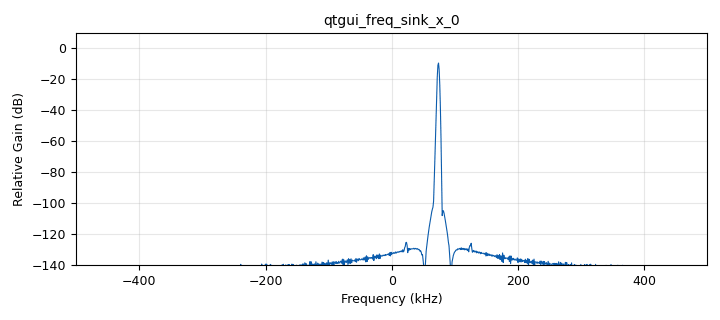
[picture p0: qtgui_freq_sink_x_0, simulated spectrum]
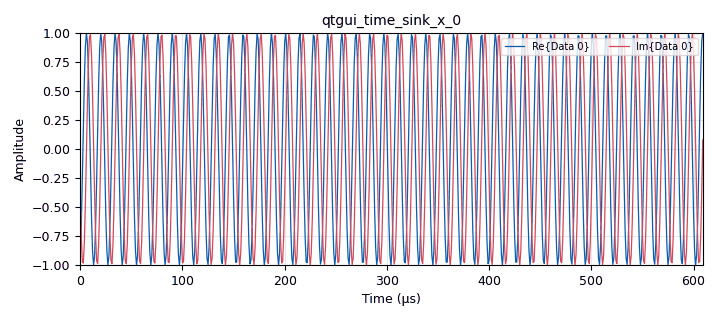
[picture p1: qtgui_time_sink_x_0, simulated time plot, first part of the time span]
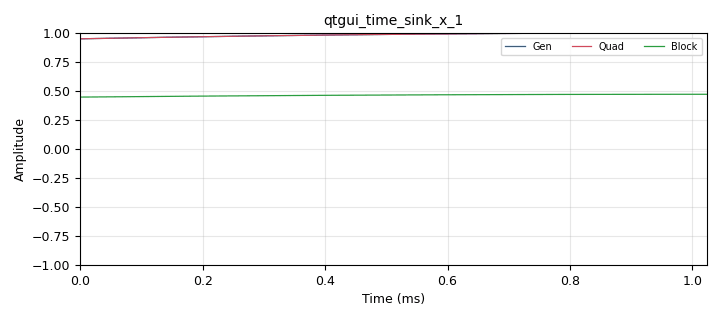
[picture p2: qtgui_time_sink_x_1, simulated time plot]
options:
  parameters:
    generate_options: qt_gui
    id: FM
    output_language: python
    title: Not titled yet
  states: {}

blocks:
- name: amp
  id: variable_qtgui_range
  parameters:
    label: Amp
    start: '0'
    step: '.1'
    stop: '1'
    value: '1'
  states: {}
- name: bw
  id: variable
  parameters:
    value: 2*(deltaF+15e3)
  states: {}
- name: deltaF
  id: variable
  parameters:
    value: 75e3
  states: {}
- name: frec
  id: variable_qtgui_range
  parameters:
    label: Frec
    start: '0'
    step: '100'
    stop: 15e3
    value: '50'
  states: {}
- name: samp_rate
  id: variable
  parameters:
    value: 1e6
  states: {}
- name: analog_frequency_modulator_fc_0
  id: analog_frequency_modulator_fc
  parameters:
    sensitivity: 2*np.pi*deltaF/samp_rate
  states: {}
- name: analog_quadrature_demod_cf_0
  id: analog_quadrature_demod_cf
  parameters:
    gain: samp_rate/(2*np.pi*deltaF)
  states: {}
- name: analog_sig_source_x_0
  id: analog_sig_source_x
  parameters:
    amp: amp
    comment: Audio
    freq: frec
    offset: '0'
    phase: '0'
    samp_rate: samp_rate
    type: float
    waveform: analog.GR_COS_WAVE
  states: {}
- name: blocks_complex_to_arg_0
  id: blocks_complex_to_arg
  parameters: {}
  states: {}
- name: blocks_conjugate_cc_0
  id: blocks_conjugate_cc
  parameters: {}
  states: {}
- name: blocks_delay_0
  id: blocks_delay
  parameters:
    delay: '1'
    type: complex
  states: {}
- name: blocks_multiply_xx_0
  id: blocks_multiply_xx
  parameters:
    type: complex
  states: {}
- name: blocks_throttle2_0
  id: blocks_throttle2
  parameters:
    samples_per_second: samp_rate
    type: float
  states: {}
- name: import_0
  id: import
  parameters:
    imports: import numpy as np
  states: {}
- name: qtgui_freq_sink_x_0
  id: qtgui_freq_sink_x
  parameters:
    bw: samp_rate
    fc: '0'
    fftsize: '1024'
    type: complex
  states: {}
- name: qtgui_time_sink_x_0
  id: qtgui_time_sink_x
  parameters:
    size: '1024'
    srate: samp_rate
    type: complex
  states: {}
- name: qtgui_time_sink_x_1
  id: qtgui_time_sink_x
  parameters:
    label1: Gen
    label2: Quad
    label3: Block
    nconnections: '3'
    size: '1024'
    srate: samp_rate
    type: float
  states: {}
- name: virtual_sink_0
  id: virtual_sink
  parameters:
    stream_id: FM
  states: {}
- name: virtual_source_0
  id: virtual_source
  parameters:
    stream_id: FM
  states: {}

connections:
- [analog_frequency_modulator_fc_0, '0', analog_quadrature_demod_cf_0, '0']
- [analog_frequency_modulator_fc_0, '0', qtgui_freq_sink_x_0, '0']
- [analog_frequency_modulator_fc_0, '0', qtgui_time_sink_x_0, '0']
- [analog_frequency_modulator_fc_0, '0', virtual_sink_0, '0']
- [analog_quadrature_demod_cf_0, '0', qtgui_time_sink_x_1, '1']
- [analog_sig_source_x_0, '0', blocks_throttle2_0, '0']
- [blocks_complex_to_arg_0, '0', qtgui_time_sink_x_1, '2']
- [blocks_conjugate_cc_0, '0', blocks_multiply_xx_0, '1']
- [blocks_delay_0, '0', blocks_conjugate_cc_0, '0']
- [blocks_multiply_xx_0, '0', blocks_complex_to_arg_0, '0']
- [blocks_throttle2_0, '0', analog_frequency_modulator_fc_0, '0']
- [blocks_throttle2_0, '0', qtgui_time_sink_x_1, '0']
- [virtual_source_0, '0', blocks_delay_0, '0']
- [virtual_source_0, '0', blocks_multiply_xx_0, '0']

metadata:
  file_format: 1
  grc_version: 3.10.12.0
